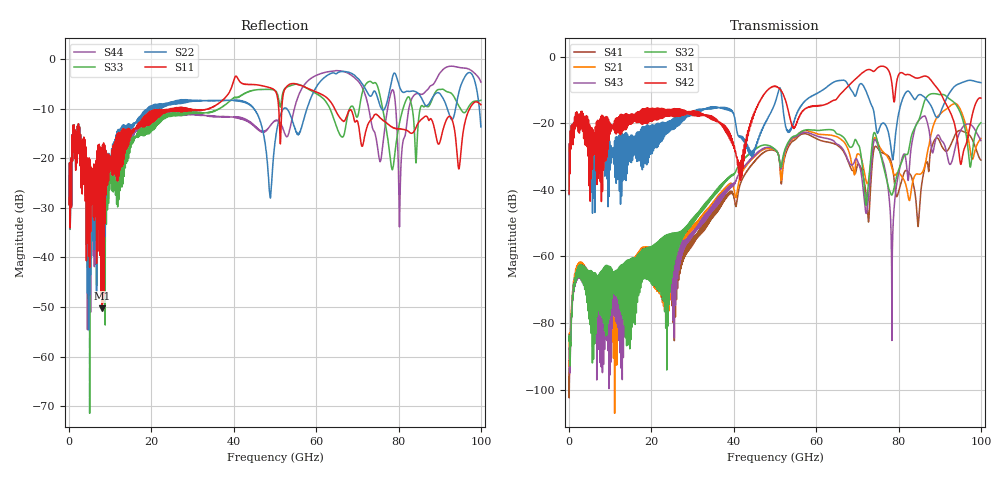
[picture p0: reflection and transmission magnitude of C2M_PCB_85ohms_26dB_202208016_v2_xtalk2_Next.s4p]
! Info: Touchstone file created by Circ.  Input file=Intel_C2M_200G_11p0in_202208016_staggered.circ
# Hz S RI R 50
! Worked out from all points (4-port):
!   10000 points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, 10 MHz to 100 GHz, reference 50 ohm
!   strongest paths, dB at 10 MHz, 25.01 GHz, 50.01 GHz, 75.01 GHz, 100 GHz:
!     S42: -41.3, -17.2, -8.9, -3.3, -12.5
!     S31: -41.4, -21.1, -13.9, -22.8, -7.8
!     S32: -83.6, -61.6, -27.9, -26.1, -19.9
!     S43: -87.5, -64.2, -28.0, -26.7, -25.2
!     S21: -93.0, -65.8, -28.1, -26.0, -24.6
!     S41: -91.3, -65.9, -28.3, -27.6, -31.1
!   lowest |S11| = -50.3 dB at 8 GHz (marker M1), VSWR 1.01, Z = 50.1 - j0.299 ohm
!   |S11| at or under -10 dB: start of sweep to 24.68 GHz; 29.31 GHz to 33.71 GHz (4.399 GHz wide, 14 % of centre); 64.52 GHz to 97.25 GHz (32.73 GHz wide, 40.5 % of centre)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
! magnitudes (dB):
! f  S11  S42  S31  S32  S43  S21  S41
! 10 MHz  -29.2  -41.3  -41.4  -83.6  -87.5  -93.0  -91.3
! 8 GHz  -50.3  -17.9  -20.5  -65.1  -69.5  -67.4  -70.9
! 56.49 GHz  -5.3  -16.8  -14.5  -22.5  -23.0  -22.5  -23.3
! 74.52 GHz  -11.1  -3.9  -21.0  -23.7  -25.2  -24.6  -27.0
! 78.43 GHz  -13.7  -8.4  -29.9  -41.5  -66.4  -33.6  -32.7
! 85.13 GHz  -12.5  -6.3  -11.4  -18.4  -18.9  -35.3  -44.7
! 100 GHz  -9.2  -12.5  -7.8  -19.9  -25.2  -24.6  -31.1
